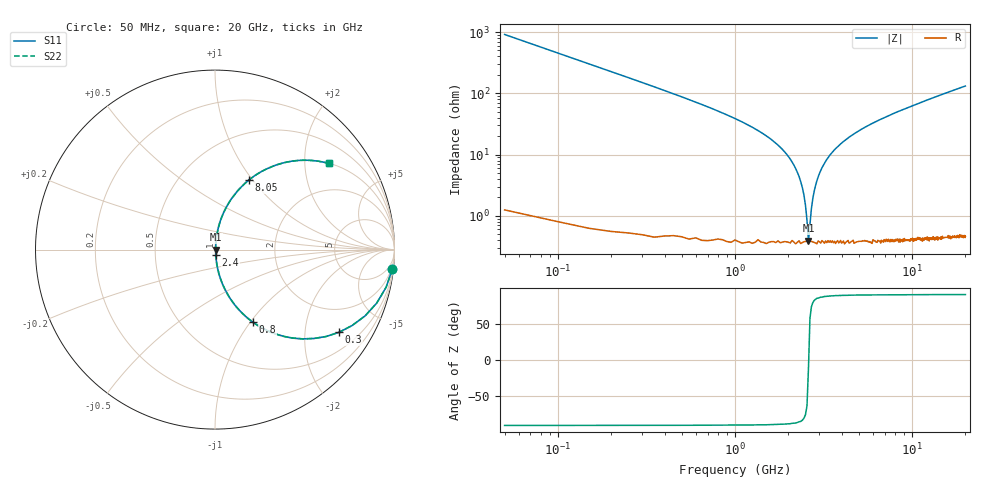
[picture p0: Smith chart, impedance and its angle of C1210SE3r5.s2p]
! AVX Thin Film Operation		Date: April 2012
! Description: Accu-P® Series, Thin Film, SMD, RF Capacitor
! Part Number: 12101J3R5ABTTR
!	100	MHz	-	20.05	GHz
!	Serial	Measurements
#	MHZ	S	MA	R	50
!	S11	S21	S12	S22
!	dB	Phase	dB	Phase	dB	Phase	dB	Phase
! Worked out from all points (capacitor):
!   400 points, 50 MHz to 20 GHz, reference 50 ohm
!   read as one part in series: C = 3.5 pF near 150 MHz
!   lowest |Z| = 394 mohm at 2.6 GHz (marker M1)
!   series resonance near 2.606 GHz, so ESL is about 1.1 nH
!   S11 on the Smith chart (normalised r, x): 50 MHz: 1, -18; 300 MHz: 1.01, -2.99; 800 MHz: 1.01, -1.03; 2.4 GHz: 1.01, -0.06; 8.05 GHz: 1.01, +0.96; 20 GHz: 1.01, +2.63
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50  0.994 -6.3  0.109 83.6  0.109 83.6  0.994 -6.3
100  0.976 -12.4  0.215 77.5  0.215 77.5  0.976 -12.4
150  0.949 -18.3  0.314 71.6  0.314 71.6  0.949 -18.3
300  0.83 -33.7  0.555 56.1  0.555 56.1  0.83 -33.7
550  0.618 -51.5  0.783 38.2  0.783 38.2  0.618 -51.5
800  0.456 -62.4  0.886 27.1  0.886 27.1  0.456 -62.4
1950  0.102 -82.1  0.991 5.8  0.991 5.8  0.102 -82.1
2200  0.059 -83.0  0.995 3.4  0.995 3.4  0.059 -83.0
2400  0.029 -81.0  0.996 1.6  0.996 1.6  0.029 -81.0
2500  0.015 -74.7  0.996 0.8  0.996 0.8  0.015 -74.7
2600  0.003775 -11.2  0.996 0.0  0.996 0.0  0.003775 -11.2
2700  0.013 72.7  0.996 -0.7  0.996 -0.7  0.013 72.7
2850  0.031 81.4  0.996 -1.8  0.996 -1.8  0.031 81.4
3100  0.061 83.0  0.994 -3.5  0.994 -3.5  0.061 83.0
3400  0.093 82.4  0.992 -5.3  0.992 -5.3  0.093 82.4
4500  0.196 77.6  0.977 -11.3  0.977 -11.3  0.196 77.6
6700  0.355 68.6  0.931 -20.8  0.931 -20.8  0.355 68.6
8050  0.433 63.9  0.898 -25.7  0.898 -25.7  0.433 63.9
10050  0.53 57.6  0.844 -32.0  0.844 -32.0  0.53 57.6
13350  0.651 49.1  0.756 -40.6  0.756 -40.6  0.651 49.1
16700  0.736 42.4  0.674 -47.4  0.674 -47.4  0.736 42.4
20000  0.795 37.1  0.604 -52.7  0.604 -52.7  0.795 37.1
